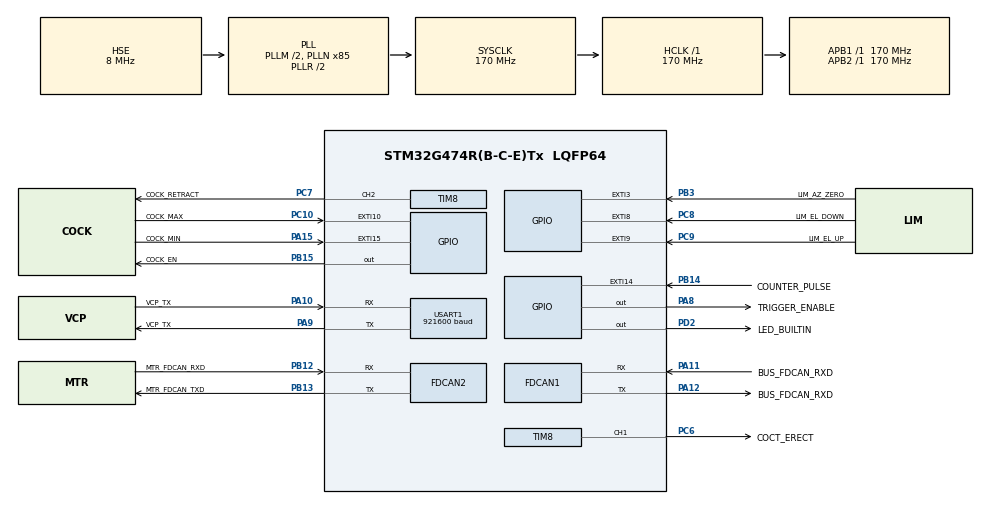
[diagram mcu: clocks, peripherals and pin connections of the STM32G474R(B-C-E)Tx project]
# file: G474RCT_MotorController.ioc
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FDCAN1.AutoRetransmission=DISABLE
FDCAN1.ClockDivider=FDCAN_CLOCK_DIV2
FDCAN1.DataPrescaler=1
FDCAN1.DataSyncJumpWidth=8
FDCAN1.DataTimeSeg1=8
FDCAN1.DataTimeSeg2=8
FDCAN1.ExtFiltersNbr=8
FDCAN1.FrameFormat=FDCAN_FRAME_FD_BRS
FDCAN1.NominalPrescaler=1
FDCAN1.NominalSyncJumpWidth=22
FDCAN1.NominalTimeSeg1=147
FDCAN1.NominalTimeSeg2=22
FDCAN1.StdFiltersNbr=28
FDCAN1.TransmitPause=DISABLE
FDCAN2.AutoRetransmission=DISABLE
FDCAN2.DataPrescaler=17
FDCAN2.DataSyncJumpWidth=2
FDCAN2.DataTimeSeg1=2
FDCAN2.DataTimeSeg2=2
FDCAN2.ExtFiltersNbr=8
FDCAN2.NominalSyncJumpWidth=11
FDCAN2.NominalTimeSeg1=73
FDCAN2.NominalTimeSeg2=11
FDCAN2.StdFiltersNbr=28
FDCAN2.TransmitPause=DISABLE
IWDG.Prescaler=IWDG_PRESCALER_64
IWDG.Reload=1000
IWDG.Window=1000
Mcu.Family=STM32G4
Mcu.Name=STM32G474R(B-C-E)Tx
Mcu.Package=LQFP64
Mcu.UserConstants=BUS_NOMINAL_BAUDRATE_KHZ,500;BUS_DATA_BAUDRATE_KHZ,2000
NVIC.FDCAN1_IT0_IRQn=true\:6\:0\:true\:false\:true\:true\:true
NVIC.FDCAN2_IT0_IRQn=true\:5\:0\:true\:false\:true\:true\:true
NVIC.PriorityGroup=NVIC_PRIORITYGROUP_4
NVIC.USART1_IRQn=true\:15\:0\:true\:false\:false\:true\:true
PA10.GPIO_Label=VCP_TX
PA10.GPIO_PuPd=GPIO_PULLUP
PA10.GPIO_Speed=GPIO_SPEED_FREQ_VERY_HIGH
PA10.Mode=Asynchronous
PA10.Signal=USART1_RX
PA11.GPIO_Label=BUS_FDCAN_RXD
PA11.GPIO_PuPd=GPIO_PULLUP
PA11.GPIO_Speed=GPIO_SPEED_FREQ_VERY_HIGH
PA11.Mode=FDCAN_Activate
PA11.Signal=FDCAN1_RX
PA12.GPIO_Label=BUS_FDCAN_RXD
PA12.GPIO_Speed=GPIO_SPEED_FREQ_VERY_HIGH
PA12.Mode=FDCAN_Activate
PA12.Signal=FDCAN1_TX
PA13.Mode=Serial_Wire
PA13.Signal=SYS_JTMS-SWDIO
PA14.Mode=Serial_Wire
PA14.Signal=SYS_JTCK-SWCLK
PA15.GPIO_Label=COCK_MIN
PA15.GPIO_ModeDefaultEXTI=GPIO_MODE_IT_FALLING
PA15.GPIO_PuPd=GPIO_PULLUP
PA15.Signal=GPXTI15
PA2.GPIO_Speed=GPIO_SPEED_FREQ_VERY_HIGH
PA2.Signal=QUADSPI1_BK1_NCS
PA3.GPIO_Speed=GPIO_SPEED_FREQ_VERY_HIGH
PA3.Signal=QUADSPI1_CLK
PA6.GPIO_Speed=GPIO_SPEED_FREQ_VERY_HIGH
PA6.Signal=QUADSPI1_BK1_IO3
PA7.GPIO_Speed=GPIO_SPEED_FREQ_VERY_HIGH
PA7.Signal=QUADSPI1_BK1_IO2
PA8.GPIO_Label=TRIGGER_ENABLE
PA8.Signal=GPIO_Output
PA9.GPIO_Label=VCP_TX
PA9.GPIO_PuPd=GPIO_NOPULL
PA9.GPIO_Speed=GPIO_SPEED_FREQ_VERY_HIGH
PA9.Mode=Asynchronous
PA9.Signal=USART1_TX
PB0.GPIO_Speed=GPIO_SPEED_FREQ_VERY_HIGH
PB0.Signal=QUADSPI1_BK1_IO1
PB1.GPIO_Speed=GPIO_SPEED_FREQ_VERY_HIGH
PB1.Signal=QUADSPI1_BK1_IO0
PB12.GPIO_Label=MTR_FDCAN_RXD
PB12.GPIO_PuPd=GPIO_PULLUP
PB12.GPIO_Speed=GPIO_SPEED_FREQ_VERY_HIGH
PB12.Mode=FDCAN_Activate
PB12.Signal=FDCAN2_RX
PB13.GPIO_Label=MTR_FDCAN_TXD
PB13.GPIO_Speed=GPIO_SPEED_FREQ_VERY_HIGH
PB13.Mode=FDCAN_Activate
PB13.Signal=FDCAN2_TX
PB14.GPIO_Label=COUNTER_PULSE
PB14.GPIO_ModeDefaultEXTI=GPIO_MODE_IT_FALLING
PB14.GPIO_PuPd=GPIO_PULLUP
PB14.Signal=GPXTI14
PB15.GPIO_Label=COCK_EN
PB15.Signal=GPIO_Output
PB3.GPIO_Label=LIM_AZ_ZERO
PB3.GPIO_ModeDefaultEXTI=GPIO_MODE_IT_FALLING
PB3.GPIO_PuPd=GPIO_PULLUP
PB3.Signal=GPXTI3
PB4.GPIO_Label=EL_ENC_B
PB4.Signal=S_TIM3_CH1
PB5.GPIO_Label=EL_ENC_A
PB5.Signal=S_TIM3_CH2
PB6.GPIO_Label=AZ_ENC_B
PB6.Signal=S_TIM4_CH1
PB7.GPIO_Label=AZ_ENC_A
PB7.Signal=S_TIM4_CH2
PC10.GPIO_Label=COCK_MAX
PC10.GPIO_ModeDefaultEXTI=GPIO_MODE_IT_FALLING
PC10.GPIO_PuPd=GPIO_PULLUP
PC10.Signal=GPXTI10
PC6.GPIO_Label=COCT_ERECT
PC6.Signal=S_TIM8_CH1
PC7.GPIO_Label=COCK_RETRACT
PC7.Signal=S_TIM8_CH2
PC8.GPIO_Label=LIM_EL_DOWN
PC8.GPIO_ModeDefaultEXTI=GPIO_MODE_IT_FALLING
PC8.GPIO_PuPd=GPIO_PULLUP
PC8.Signal=GPXTI8
PC9.GPIO_Label=LIM_EL_UP
PC9.GPIO_ModeDefaultEXTI=GPIO_MODE_IT_FALLING
PC9.GPIO_PuPd=GPIO_PULLUP
PC9.Signal=GPXTI9
PD2.GPIO_Label=LED_BUILTIN
PD2.Signal=GPIO_Output
PF0-OSC_IN.Mode=HSE-External-Oscillator
PF0-OSC_IN.Signal=RCC_OSC_IN
PF1-OSC_OUT.Mode=HSE-External-Oscillator
PF1-OSC_OUT.Signal=RCC_OSC_OUT
ProjectManager.HeapSize=0x400
ProjectManager.StackSize=0x800
ProjectManager.TargetToolchain=STM32CubeIDE
RCC.ADC12Freq_Value=170000000
RCC.ADC345Freq_Value=170000000
RCC.AHBFreq_Value=170000000
RCC.APB1Freq_Value=170000000
RCC.APB1TimFreq_Value=170000000
RCC.APB2Freq_Value=170000000
RCC.APB2TimFreq_Value=170000000
RCC.CortexFreq_Value=170000000
RCC.EXTERNAL_CLOCK_VALUE=12288000
RCC.EnbaleCSS=true
RCC.HCLKFreq_Value=170000000
RCC.HSE_VALUE=8000000
RCC.HSI48_VALUE=48000000
RCC.HSI_VALUE=16000000
RCC.LSE_VALUE=32768
RCC.PLLM=RCC_PLLM_DIV2
RCC.PLLN=85
RCC.PLLSourceVirtual=RCC_PLLSOURCE_HSE
RCC.SYSCLKFreq_VALUE=170000000
RCC.SYSCLKSource=RCC_SYSCLKSOURCE_PLLCLK
RCC.USBFreq_Value=170000000
RCC.VCOOutputFreq_Value=340000000
SH.S_TIM3_CH1.0=TIM3_CH1
SH.S_TIM3_CH2.0=TIM3_CH2
SH.S_TIM4_CH1.0=TIM4_CH1
SH.S_TIM4_CH2.0=TIM4_CH2
SH.S_TIM8_CH1.0=TIM8_CH1,PWM Generation1 CH1
SH.S_TIM8_CH2.0=TIM8_CH2,PWM Generation2 CH2
SYS.Mode=PWR_PVD_MODE_IT_RISING
SYS.PVDLevel=PWR_PVDLEVEL_6
TIM8.Channel-PWM\ Generation1\ CH1=TIM_CHANNEL_1
TIM8.Channel-PWM\ Generation2\ CH2=TIM_CHANNEL_2
USART1.BaudRate=921600
USART1.VirtualMode-Asynchronous=VM_ASYNC
VP_IWDG_VS_IWDG.Mode=IWDG_Activate
VP_SYS_VS_DBSignals.Mode=DisableDeadBatterySignals
VP_SYS_V_PVD_IN.Mode=Mode_PVD_Int
VP_SYS_V_VREFBUF.Mode=ExternalMode
VP_TIM8_VS_ClockSourceINT.Mode=Internal
board=custom

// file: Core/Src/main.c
/* USER CODE BEGIN Header */
/**
 ******************************************************************************
 * @file           : main.c
 * @brief          : Main program body
 ******************************************************************************
 * @attention
 *
 * <h2><center>&copy; Copyright (c) 2021 STMicroelectronics.
 * All rights reserved.</center></h2>
 *
 * This software component is licensed by ST under BSD 3-Clause license,
 * the "License"; You may not use this file except in compliance with the
 * License. You may obtain a copy of the License at:
 *                        opensource.org/licenses/BSD-3-Clause
 *
 ******************************************************************************
 */
/* USER CODE END Header */
#include "main.h"
#include "fdcan.h"
#include "iwdg.h"
#include "tim.h"
#include "usart.h"
#include "gpio.h"

/* USER CODE BEGIN Includes */
#include <stdio.h>
#include <string.h>
//#include <math.h>
#include <stdlib.h>
#include <stdbool.h>

#include "Ingenia_FdcanServoDriver.h"
#include "rws_config.h"
#include "bus_fdcan.h"
/* USER CODE END Includes */

/* USER CODE BEGIN PTD */
typedef enum
{
	MOVEMENT_MANUAL,
	MOVEMENT_STABILIZE,
	MOVEMENT_TRACK
} movement_mode_e;

typedef struct
{
	uint8_t movementMode;
	uint8_t weaponCommand;
	int32_t panSpeedDesired;
	int32_t tiltSpeedDesired;
	int32_t panSpeedCorrection;
	int32_t tiltSpeedCorrection;
	uint32_t timestamp;
} panel_command_t;

typedef struct
{
	uint8_t motorStatus;
	uint8_t weaponStatus;
	uint16_t munitionCounter;
} motor_weapon_status_t;

typedef struct
{
	Servo_t *servo;
	uint32_t maxVelo;
	uint32_t pos1Rev;
} servo_under_test_t;
/* USER CODE END PTD */

/* USER CODE BEGIN PD */
#define PANEL_NOT_CONNECTED		1

#define MTR_AZ_ENABLE			0
#define MTR_EL_ENABLE			1

#define MTR_AZ_ID				0x20
#define MTR_EL_ID				0x21

/* USER CODE END PD */

/* USER CODE BEGIN PV */
Servo_t mtrAzi;
Servo_t mtrEle;
volatile uint32_t countTPDO4 = 0;

Bus_Tx_Buffer_t busSendMotor;
Bus_Rx_Buffer_t busRecvPanel;

panel_command_t g_panel_command;
motor_weapon_status_t g_motor_weapon_status;

volatile uint8_t g_fdcan_bus_busOff_error = 0;
volatile uint8_t g_fdcan_motor_busOff_error = 0;

/* USER CODE END PV */

void SystemClock_Config(void);
/* USER CODE BEGIN PFP */
static void busInit(void);
static void busHandler(void);

static void weaponInit();
static void weaponHandler();

static HAL_StatusTypeDef motorInit();
static void motorHandler();
/* USER CODE END PFP */

int main(void)
{

	/* MCU Configuration--------------------------------------------------------*/

	/* Reset of all peripherals, Initializes the Flash interface and the Systick. */
	HAL_Init();

	/* Configure the system clock */
	SystemClock_Config();

	/* USER CODE BEGIN SysInit */
	char buf[RING_BUFFER_TX_SIZE];
	uint16_t bufLen;
	/* USER CODE END SysInit */

	/* Initialize all configured peripherals */
	MX_GPIO_Init();
	MX_USART1_UART_Init();
	MX_FDCAN1_Init();
	MX_FDCAN2_Init();
	MX_TIM8_Init();
//	MX_IWDG_Init();
	/* USER CODE BEGIN 2 */
	/* TODO Init*/
	usartAllInit();
	bufLen = sprintf(buf, "motorControl RWS-mk3 firmware!\r\n");
	serial_write_str(&debug, buf, bufLen);

	HAL_GPIO_WritePin(LED_BUILTIN_GPIO_Port, LED_BUILTIN_Pin, GPIO_PIN_SET);

	busInit();

//	HAL_IWDG_Refresh(&hiwdg);
	if (motorInit() != HAL_OK)
		Error_Handler();

	servo_under_test_t test;
#if MTR_AZ_ENABLE==1
	test.servo = &mtrAzi;
	test.maxVelo = 350UL;
	test.pos1Rev = 18UL;
#endif	//if MTR_AZ_ENABLE==1

#if MTR_EL_ENABLE==1
	test.servo = &mtrEle;
	test.maxVelo = 100000UL;
	test.pos1Rev = 4000UL;
#endif	//if MTR_EL_ENABLE==1

	bufLen = sprintf(buf, "mtrEle._u8Node= 0x%02X\r\n", test.servo->_u8Node);
	serial_write_str(&debug, buf, bufLen);

	/* USER CODE END 2 */

	/* Infinite loop */
	/* USER CODE BEGIN WHILE */
	uint8_t _debugMotorEnable = 0;
#if PANEL_NOT_CONNECTED==1
	uint32_t panelCommandTimer = 0;
#endif	//if PANEL_NOT_CONNECTED==1

	while (1) {
		uint32_t _debugPos = 0;
		/* USER CODE END WHILE */

		/* USER CODE BEGIN 3 */
		/* TODO BEGIN LOOP*/
//		HAL_IWDG_Refresh(&hiwdg);
#if PANEL_NOT_CONNECTED==0
		if (g_fdcan_bus_busOff_error == 1) {
			MX_FDCAN1_Init();
			busInit();
			g_fdcan_bus_busOff_error = 0;
		}
#endif	//if PANEL_NOT_CONNECTED==0

		if (g_fdcan_motor_busOff_error == 1) {
			MX_FDCAN2_Init();
			if (motorInit() != HAL_OK)
				Error_Handler();

			g_fdcan_motor_busOff_error = 0;
		}

#if PANEL_NOT_CONNECTED==0
		busHandler();
#else
		if (HAL_GetTick() >= panelCommandTimer) {
			panelCommandTimer = HAL_GetTick() + 50;

			g_panel_command.timestamp = HAL_GetTick();
			HAL_GPIO_TogglePin(LED_BUILTIN_GPIO_Port, LED_BUILTIN_Pin);
		}
#endif	//if PANEL_NOT_CONNECTED==0
		motorHandler();

		if (serial_available(&debug) > 0) {
			char c = serial_read(&debug);

			if (c == '0') {
				g_panel_command.tiltSpeedDesired = 0;
				bufLen = sprintf(buf, "motor Stop!\r\n");
				serial_write_str(&debug, buf, bufLen);
			}
			else if (c == 'e') {
				if (bitRead(g_motor_weapon_status.motorStatus, 1)) {
					bitClear(g_panel_command.movementMode, 1);
					bufLen = sprintf(buf, "motor Disable!\r\n");
					serial_write_str(&debug, buf, bufLen);
				}
				else {
					bitSet(g_panel_command.movementMode, 1);
					bufLen = sprintf(buf, "motor Enable!\r\n");
					serial_write_str(&debug, buf, bufLen);
				}
			}
			else if (c == 'p') {
				g_panel_command.tiltSpeedDesired = 100000;
				bufLen = sprintf(buf, "spd= %ld\r\n", g_panel_command.tiltSpeedDesired);
				serial_write_str(&debug, buf, bufLen);
			}
			else if (c == 'o') {
				g_panel_command.tiltSpeedDesired = 50000;
				bufLen = sprintf(buf, "spd= %ld\r\n", g_panel_command.tiltSpeedDesired);
				serial_write_str(&debug, buf, bufLen);
			}
			else if (c == 'i') {
				g_panel_command.tiltSpeedDesired = 100;
				bufLen = sprintf(buf, "spd= %ld\r\n", g_panel_command.tiltSpeedDesired);
				serial_write_str(&debug, buf, bufLen);
			}
			else if (c == 'q') {
				g_panel_command.tiltSpeedDesired = -100000;
				bufLen = sprintf(buf, "spd= %ld\r\n", g_panel_command.tiltSpeedDesired);
				serial_write_str(&debug, buf, bufLen);
			}
			else if (c == 'w') {
				g_panel_command.tiltSpeedDesired = -50000;
				bufLen = sprintf(buf, "spd= %ld\r\n", g_panel_command.tiltSpeedDesired);
				serial_write_str(&debug, buf, bufLen);
			}
			else if (c == 'e') {
				g_panel_command.tiltSpeedDesired = -100;
				bufLen = sprintf(buf, "spd= %ld\r\n", g_panel_command.tiltSpeedDesired);
				serial_write_str(&debug, buf, bufLen);
			}
		}

//		if (serial_available(&debug) > 0) {
//			char c = serial_read(&debug);
//
//			if (c == '0') {
//				Ingenia_setTargetPositionVelocity(test.servo, 0, 0, 1, 0, 1);
//				bufLen = sprintf(buf, "motor Stop!\r\n");
//				serial_write_str(&debug, buf, bufLen);
//			}
//			else if (c == 'e') {
//				if (_debugMotorEnable == 0) {
//					Ingenia_enableMotor(test.servo);
//					bufLen = sprintf(buf, "motor set to enable!\r\n");
//					serial_write_str(&debug, buf, bufLen);
//					_debugMotorEnable = 1;
//				}
//				else {
//					Ingenia_disableMotor(test.servo);
//					bufLen = sprintf(buf, "motor set to disable!\r\n");
//					serial_write_str(&debug, buf, bufLen);
//					_debugMotorEnable = 0;
//				}
//			}
//			else if (c == '<') {
//				if (_debugMotorEnable != 0) {
//					_debugPos = test.servo->posActual - test.pos1Rev;
//					Ingenia_setTargetPositionVelocity(test.servo, _debugPos, test.maxVelo, 1, 0, 0);
//					bufLen = sprintf(buf, "move left! %ld\r\n", _debugPos);
//					serial_write_str(&debug, buf, bufLen);
//				}
//			}
//			else if (c == '>') {
//				if (_debugMotorEnable != 0) {
//					_debugPos = test.servo->posActual + test.pos1Rev;
//					Ingenia_setTargetPositionVelocity(test.servo, _debugPos, test.maxVelo, 1, 0, 0);
//					bufLen = sprintf(buf, "move right! %ld\r\n", _debugPos);
//					serial_write_str(&debug, buf, bufLen);
//				}
//			}
//			else if (c == 'T') {
//				bufLen = sprintf(buf, "\r\n\r\nfdcan1:0x%lX fdcan2:0x%lX uart1=0x%lX\r\n",
//						HAL_FDCAN_GetError(&hfdcan1), HAL_FDCAN_GetError(&hfdcan2),
//						HAL_UART_GetError(&huart1));
//				serial_write_str(&debug, buf, bufLen);
//			}
//		}
		/* TODO END LOOP*/
	}
	/* USER CODE END 3 */
}

void SystemClock_Config(void)
{
	RCC_OscInitTypeDef RCC_OscInitStruct = { 0 };
	RCC_ClkInitTypeDef RCC_ClkInitStruct = { 0 };
	RCC_PeriphCLKInitTypeDef PeriphClkInit = { 0 };

	/** Configure the main internal regulator output voltage
	 */
	HAL_PWREx_ControlVoltageScaling(PWR_REGULATOR_VOLTAGE_SCALE1_BOOST);
	/** Initializes the RCC Oscillators according to the specified parameters
	 * in the RCC_OscInitTypeDef structure.
	 */
	RCC_OscInitStruct.OscillatorType = RCC_OSCILLATORTYPE_LSI | RCC_OSCILLATORTYPE_HSE;
	RCC_OscInitStruct.HSEState = RCC_HSE_ON;
	RCC_OscInitStruct.LSIState = RCC_LSI_ON;
	RCC_OscInitStruct.PLL.PLLState = RCC_PLL_ON;
	RCC_OscInitStruct.PLL.PLLSource = RCC_PLLSOURCE_HSE;
	RCC_OscInitStruct.PLL.PLLM = RCC_PLLM_DIV2;
	RCC_OscInitStruct.PLL.PLLN = 85;
	RCC_OscInitStruct.PLL.PLLP = RCC_PLLP_DIV2;
	RCC_OscInitStruct.PLL.PLLQ = RCC_PLLQ_DIV2;
	RCC_OscInitStruct.PLL.PLLR = RCC_PLLR_DIV2;
	if (HAL_RCC_OscConfig(&RCC_OscInitStruct) != HAL_OK) {
		Error_Handler();
	}
	/** Initializes the CPU, AHB and APB buses clocks
	 */
	RCC_ClkInitStruct.ClockType = RCC_CLOCKTYPE_HCLK | RCC_CLOCKTYPE_SYSCLK | RCC_CLOCKTYPE_PCLK1
			| RCC_CLOCKTYPE_PCLK2;
	RCC_ClkInitStruct.SYSCLKSource = RCC_SYSCLKSOURCE_PLLCLK;
	RCC_ClkInitStruct.AHBCLKDivider = RCC_SYSCLK_DIV1;
	RCC_ClkInitStruct.APB1CLKDivider = RCC_HCLK_DIV1;
	RCC_ClkInitStruct.APB2CLKDivider = RCC_HCLK_DIV1;

	if (HAL_RCC_ClockConfig(&RCC_ClkInitStruct, FLASH_LATENCY_4) != HAL_OK) {
		Error_Handler();
	}
	/** Initializes the peripherals clocks
	 */
	PeriphClkInit.PeriphClockSelection = RCC_PERIPHCLK_USART1 | RCC_PERIPHCLK_FDCAN;
	PeriphClkInit.Usart1ClockSelection = RCC_USART1CLKSOURCE_PCLK2;
	PeriphClkInit.FdcanClockSelection = RCC_FDCANCLKSOURCE_PCLK1;
	if (HAL_RCCEx_PeriphCLKConfig(&PeriphClkInit) != HAL_OK) {
		Error_Handler();
	}
	/** Enables the Clock Security System
	 */
	HAL_RCC_EnableCSS();
}

/* USER CODE BEGIN 4 */
/* TODO User Functions*/
static void busInit(void)
{
	char buf[RING_BUFFER_TX_SIZE];
	uint16_t bufLen;

	bufLen = sprintf(buf, "fdcan bus Init...\r\n");
	serial_write_str(&debug, buf, bufLen);

	FDCAN_RX_Filter_Panel(&hfdcan1, 0);
	busRecvPanel.id = RWS_PANEL_ID;
	FDCAN_TX_Config(&busSendMotor.txHeader, RWS_MOTOR_ID, RWS_MOTOR_DATA_LENGTH);
	FDCAN_Config(&hfdcan1);

	bufLen = sprintf(buf, "done!\r\n");
	serial_write_str(&debug, buf, bufLen);
}

void Bus_Notification_Callback(FDCAN_RxHeaderTypeDef *rxHeader, uint8_t *data)
{
	if (rxHeader->Identifier == RWS_PANEL_ID) {
		busRecvPanel.lastTimestamp = HAL_GetTick();
		busRecvPanel.rxHeader = *rxHeader;
		memcpy(busRecvPanel.data, data, FDCAN_Convert_Datalength(rxHeader->DataLength));
		busRecvPanel.counter++;
	}
}

static void motorParamInit(Servo_t *servo)
{
	Ingenia_write_nmt(servo, NMT_START_REMOTE_NODE);

	/* set mode to profile position */
	Ingenia_setModeOfOperation(servo, DRIVE_MODE_PROFILE_POSITION);

	if (servo->_u8Node == MTR_AZ_ID) {
		/* set max motor speed */
		Ingenia_write_sdo_u32(servo, 0x6080, 0, 350UL);
		/* set max velocity profile */
		Ingenia_write_sdo_u32(servo, 0x607F, 0, 350UL);
		/* set max profile acceleration */
		Ingenia_write_sdo_u32(servo, 0x6083, 0, 700UL);
		/* set max profile de-acceleration */
		Ingenia_write_sdo_u32(servo, 0x6084, 0, 700UL);
		/* set max profile quick stop de-acceleration */
		Ingenia_write_sdo_u32(servo, 0x6085, 0, 1000UL);
	}
	else if (servo->_u8Node == MTR_EL_ID) {
		/* set max motor speed */
		Ingenia_write_sdo_u32(servo, 0x6080, 0, 100000UL);
		/* set max velocity profile */
		Ingenia_write_sdo_u32(servo, 0x607F, 0, 100000UL);
		/* set max profile acceleration */
		Ingenia_write_sdo_u32(servo, 0x6083, 0, 200000UL);
		/* set max profile de-acceleration */
		Ingenia_write_sdo_u32(servo, 0x6084, 0, 200000UL);
		/* set max profile quick stop de-acceleration */
		Ingenia_write_sdo_u32(servo, 0x6085, 0, 500000UL);
	}

	/* set TPDO4 event timer */
	Ingenia_write_sdo_u16(servo, 0x1803, 5, 10);
}

static HAL_StatusTypeDef motorInit()
{
	char buf[RING_BUFFER_TX_SIZE];
	uint16_t bufLen;

#if MTR_DEBUG_ENABLE==1
	bufLen = sprintf(buf, "motor init...\r\n");
	serial_write_str(&debug, buf, bufLen);
#endif	//if MTR_DEBUG_ENABLE==1

	if (HAL_FDCAN_ActivateNotification(&hfdcan2, FDCAN_IT_BUS_OFF, 0) != HAL_OK) {
		Error_Handler();
	}

	Ingenia_begin(&hfdcan2);

#if MTR_AZ_ENABLE==1
	if (Ingenia_init(&mtrAzi, MTR_AZ_ID) != HAL_OK) {
#if MTR_DEBUG_ENABLE==1
		bufLen = sprintf(buf, "init MTR_AZI failed!\r\n");
		serial_write_str(&debug, buf, bufLen);
		serial_write_flush(&debug);
#endif	//if MTR_DEBUG_ENABLE==1

		return HAL_ERROR;
	}

#if MTR_DEBUG_ENABLE==1
	bufLen = sprintf(buf, "enable pan motor...");
	serial_write_str(&debug, buf, bufLen);
#endif	//if MTR_DEBUG_ENABLE==1

	motorParamInit(&mtrAzi);
	Ingenia_disableMotor(&mtrAzi);

#if MTR_DEBUG_ENABLE==1
	bufLen = sprintf(buf, "done!\r\n");
	serial_write_str(&debug, buf, bufLen);
#endif	//if MTR_DEBUG_ENABLE==1

#endif	//if MTR_AZ_ENABLE==1

#if MTR_EL_ENABLE==1
	if (Ingenia_init(&mtrEle, MTR_EL_ID) != HAL_OK) {
#if MTR_DEBUG_ENABLE==1
		bufLen = sprintf(buf, "init MTR_ELE failed!\r\n");
		serial_write_str(&debug, buf, bufLen);
		serial_write_flush(&debug);
#endif	//if MTR_DEBUG_ENABLE==1

		return HAL_ERROR;
	}

#if MTR_DEBUG_ENABLE==1
	bufLen = sprintf(buf, "enable tilt motor...");
	serial_write_str(&debug, buf, bufLen);
#endif	//if MTR_DEBUG_ENABLE==1

	motorParamInit(&mtrEle);
	Ingenia_disableMotor(&mtrEle);

#if MTR_DEBUG_ENABLE==1
	bufLen = sprintf(buf, "done!\r\n");
	serial_write_str(&debug, buf, bufLen);
#endif	//if MTR_DEBUG_ENABLE==1
#endif	//if MTR_EL_ENABLE==1

	return HAL_OK;
}

void Ingenia_tpdo_callback(CAN_Buffer_t *buffer)
{
	CAN_Data_t data;
	uint32_t idNode = 0;
	int _pos = 0, _velo = 0;

	if (can_buffer_available(buffer) > 0) {
		can_buffer_read(buffer, &data);
		countTPDO4++;
		if ((data.canRxHeader.Identifier & COB_TPDO4) == COB_TPDO4) {

			idNode = data.canRxHeader.Identifier - COB_TPDO4;
			for ( int i = 0; i < 4; i++ ) {
				_pos |= (int) data.rxData[i] << (8 * i);
				_velo |= (int) data.rxData[i + 4] << (8 * i);
			}

			if (idNode == mtrAzi._u8Node) {
				mtrAzi.posActual = _pos;
				mtrAzi.veloActual = _velo;
			}
			else if (idNode == mtrEle._u8Node) {
				mtrEle.posActual = _pos;
				mtrEle.veloActual = _velo;
			}

		}

	}
}

static void motorHandler()
{
	static uint8_t debugDisplayCounter = 0;
	static panel_command_t _prev_command = { 0, 0, 0.0f, 0.0f, 0.0f, 0.0f, 0 };
	bool _bool;
	int32_t _posRel;
	uint32_t _veloRel;
	Rws_Union_u _veloCmd;
	char buf[RING_BUFFER_TX_SIZE];
	uint16_t bufLen;

	if (g_panel_command.timestamp > _prev_command.timestamp) {
		if (g_panel_command.movementMode != _prev_command.movementMode) {

#if MTR_AZ_ENABLE==1
			_bool = bitRead(g_panel_command.movementMode, 0);
			if (_bool != bitRead(_prev_command.movementMode, 0)) {
				if (_bool)
					/* ENABLE PAN MOTOR */
					Ingenia_enableMotor(&mtrAzi);
				else
					/* DISABLE PAN MOTOR */
					Ingenia_disableMotor(&mtrAzi);
			}
	#endif	//if MTR_AZ_ENABLE==1

#if MTR_EL_ENABLE==1
			_bool = bitRead(g_panel_command.movementMode, 1);
			if (_bool != bitRead(_prev_command.movementMode, 1)) {
				if (_bool) {
					/* ENABLE TILT MOTOR */
					Ingenia_enableMotor(&mtrEle);
					bitSet(g_motor_weapon_status.motorStatus, 1);
				}
				else {
					/* DISABLE TILT MOTOR */
					Ingenia_disableMotor(&mtrEle);
					bitClear(g_motor_weapon_status.motorStatus, 1);
				}
			}
#endif	//if MTR_EL_ENABLE==1

			_prev_command.movementMode = g_panel_command.movementMode;
		}

#if MTR_AZ_ENABLE==1

	#endif	//if MTR_AZ_ENABLE==1

#if MTR_EL_ENABLE==1
		/* if motor enable */
		if (bitRead(_prev_command.movementMode, 1)) {
			_veloCmd.i32 = g_panel_command.tiltSpeedDesired;
			_veloRel = labs(_veloCmd.i32);
			_posRel = mtrEle.posActual + (_veloCmd.i32 / 10);
			/* TODO convert velocity to c/s */

			Ingenia_setTargetPositionVelocity(&mtrEle, _posRel, _veloRel, 1, 0, 0);

			if (++debugDisplayCounter > 20) {
				bufLen = sprintf(buf, "[%ld]p:v(cmd)=%ld:%ld\t(act)p:v=%ld:%ld\r\n", HAL_GetTick(),
						_posRel, _veloRel, mtrEle.posActual, mtrEle.veloActual);
				if (ring_buffer_free(&debug.TBufferTx) > bufLen)
					serial_write_str(&debug, buf, bufLen);
				debugDisplayCounter = 0;
			}

			_prev_command.tiltSpeedDesired = g_panel_command.tiltSpeedDesired;
		}
#endif	//if MTR_EL_ENABLE==1

		_prev_command.timestamp = g_panel_command.timestamp;
	}
}

static void busHandler(void)
{
	static uint8_t panel_counter = 0;
	static uint32_t motorSendTimer = 0;
	Rws_Union_u _pan_pos, _pan_velo;
	Rws_Union_u _tilt_pos, _tilt_velo;
	Rws_Union_u _cmd[4];

	if (panel_counter != busRecvPanel.counter) {
		panel_counter = busRecvPanel.counter;

		g_panel_command.timestamp = busRecvPanel.lastTimestamp;
		g_panel_command.movementMode = busRecvPanel.data[0];
		g_panel_command.weaponCommand = busRecvPanel.data[2];

		for ( int _i = 0; _i < 4; _i++ ) {
			_cmd[0].u8[_i] = busRecvPanel.data[4 + _i];
			_cmd[1].u8[_i] = busRecvPanel.data[8 + _i];
			_cmd[2].u8[_i] = busRecvPanel.data[12 + _i];
			_cmd[3].u8[_i] = busRecvPanel.data[16 + _i];
		}
		g_panel_command.panSpeedDesired = _cmd[0].i32;
		g_panel_command.tiltSpeedDesired = _cmd[1].i32;
		g_panel_command.panSpeedCorrection = _cmd[2].i32;
		g_panel_command.tiltSpeedCorrection = _cmd[3].i32;

		HAL_GPIO_TogglePin(LED_BUILTIN_GPIO_Port, LED_BUILTIN_Pin);
	}

	if (HAL_GetTick() >= motorSendTimer) {
		motorSendTimer = HAL_GetTick() + 50;

		busSendMotor.data[0] = g_motor_weapon_status.motorStatus;
		busSendMotor.data[1] = g_motor_weapon_status.weaponStatus;
		busSendMotor.data[2] = g_motor_weapon_status.munitionCounter & 0xFF;
		busSendMotor.data[3] = (g_motor_weapon_status.munitionCounter >> 8) & 0xFF;

		_pan_pos.i32 = mtrAzi.posActual;
		_pan_velo.i32 = mtrAzi.veloActual;
		_tilt_pos.i32 = mtrEle.posActual;
		_tilt_velo.i32 = mtrEle.veloActual;

		for ( int _index = 0; _index < 4; _index++ ) {
			busSendMotor.data[4 + _index] = _pan_pos.u8[_index];
			busSendMotor.data[8 + _index] = _pan_velo.u8[_index];
			busSendMotor.data[12 + _index] = _tilt_pos.u8[_index];
			busSendMotor.data[16 + _index] = _tilt_velo.u8[_index];
		}

		HAL_FDCAN_AddMessageToTxFifoQ(&hfdcan1, &busSendMotor.txHeader, busSendMotor.data);
	}
}

void HAL_FDCAN_ErrorStatusCallback(FDCAN_HandleTypeDef *hfdcan, uint32_t ErrorStatusITs)
{
	if (hfdcan->Instance == FDCAN1)
		g_fdcan_bus_busOff_error = 1;
	else if (hfdcan->Instance == FDCAN2)
		g_fdcan_motor_busOff_error = 1;
}
/* TODO END user functions*/
/* USER CODE END 4 */

void Error_Handler(void)
{
	/* USER CODE BEGIN Error_Handler_Debug */
	/* User can add his own implementation to report the HAL error return state */
	HAL_GPIO_WritePin(LED_BUILTIN_GPIO_Port, LED_BUILTIN_Pin, GPIO_PIN_SET);
	__disable_irq();
	while (1) {
	}
	/* USER CODE END Error_Handler_Debug */
}

/************************ (C) COPYRIGHT STMicroelectronics *****END OF FILE****/
